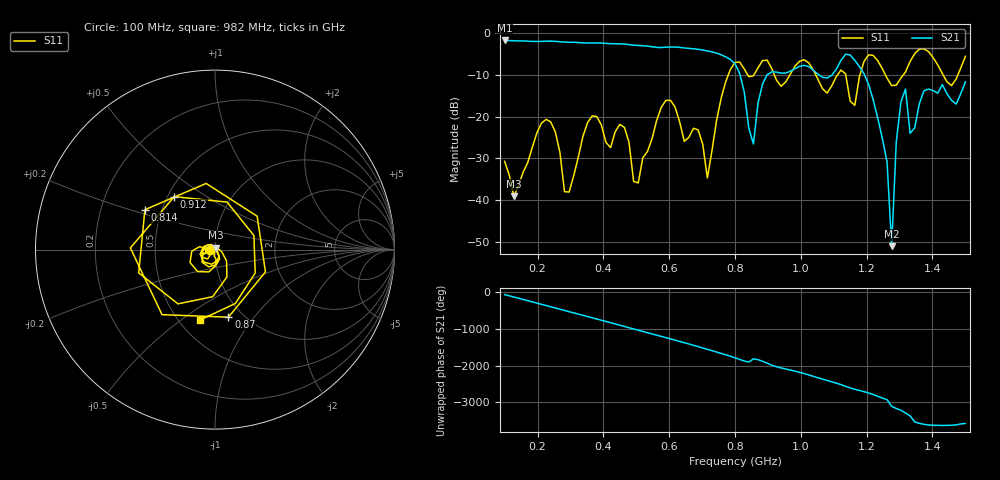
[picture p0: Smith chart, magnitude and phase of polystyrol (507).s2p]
! NanoVNA-App
! Date: 2025-09-25 15:33:50
! Start: 100MHz Stop: 1,5GHz Points: 101
! S-Parameter data: F S11 S21 S12 S22
# Hz S RI R 50
!  Frequency  S11_Real  S11_Imag  S21_Real  S21_Imag  S12_Real  S12_Imag  S22_Real  S22_Imag
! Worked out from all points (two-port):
!   101 points, 100 MHz to 1.5 GHz, reference 50 ohm
!   highest |S21| = -1.80 dB at 100 MHz (marker M1); lowest = -51.0 dB at 1.276 GHz (marker M2)
!   |S21| within 3 dB of the highest: start of sweep to 743.1 MHz
!   lowest |S11| = -39.1 dB at 128 MHz (marker M3), VSWR 1.02, Z = 50.3 + j1.06 ohm
!   |S11| at or under -10 dB: start of sweep to 779.8 MHz; 1.045 GHz to 1.112 GHz (66.63 MHz wide, 6.18 % of centre); 1.257 GHz to 1.312 GHz (54.82 MHz wide, 4.27 % of centre)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
!   S12 and S22 are empty: the file has one direction only
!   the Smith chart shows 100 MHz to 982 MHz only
!   S11 on the Smith chart (normalised r, x): 100 MHz: 0.94, -0.01; 814 MHz: 0.40, +0.22; 870 MHz: 0.85, -0.75; 912 MHz: 0.54, +0.37; 982 MHz: 0.63, -0.59
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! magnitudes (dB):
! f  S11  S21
! 100 MHz  -30.7  -1.8
! 128 MHz  -39.1  -1.9
! 212 MHz  -21.6  -2.0
! 282 MHz  -37.9  -2.2
! 338 MHz  -24.7  -2.4
! 506 MHz  -35.8  -3.0
! 576 MHz  -17.8  -3.5
! 716 MHz  -34.7  -4.3
! 800 MHz  -7.0  -7.4
! 814 MHz  -6.9  -9.6
! 856 MHz  -10.2  -26.5
! 870 MHz  -8.3  -16.7
! 912 MHz  -8.6  -9.3
! 982 MHz  -8.0  -8.6
! 1.038 GHz  -8.8  -8.9
! 1.192 GHz  -6.8  -9.8
! 1.262 GHz  -10.8  -30.8
! 1.276 GHz  -12.6  -51.0
! 1.29 GHz  -12.5  -26.1
! 1.318 GHz  -9.4  -13.4
! 1.332 GHz  -6.8  -24.0
! 1.5 GHz  -5.6  -11.7
